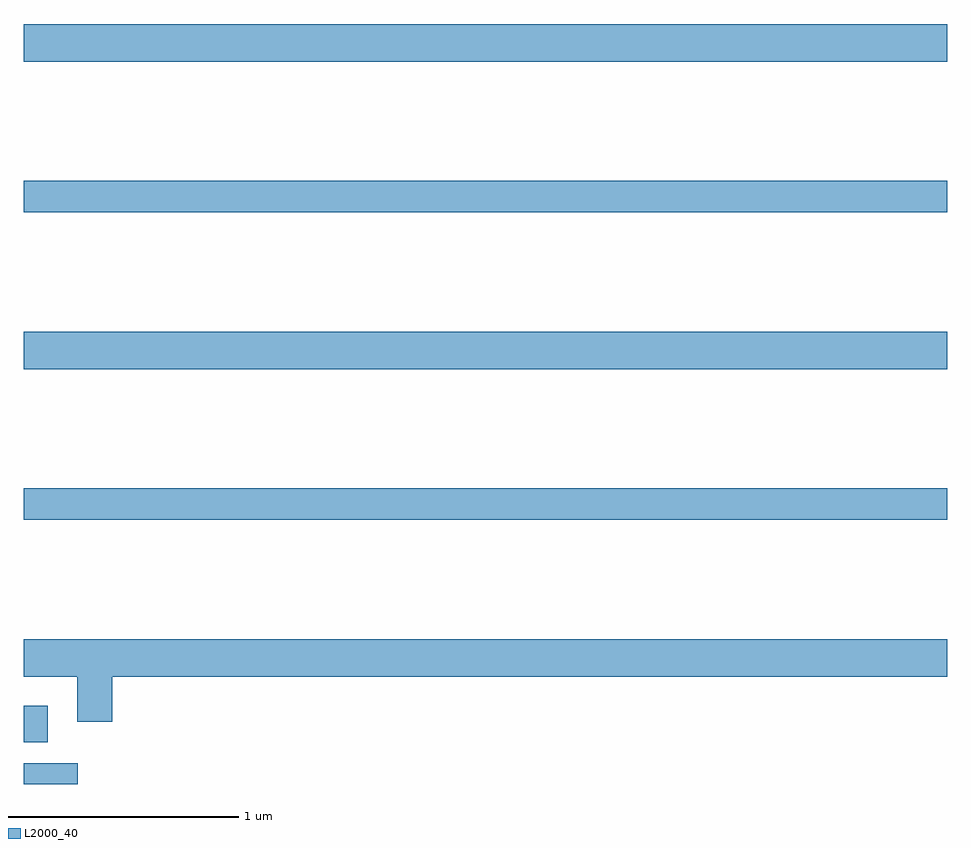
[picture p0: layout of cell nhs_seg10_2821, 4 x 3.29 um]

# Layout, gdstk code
import gdstk
lib = gdstk.Library(unit=1e-6, precision=1e-09)
def R(c, l, rs):  # rectangles x0, y0, x1, y1
    for r in rs: c.add(gdstk.rectangle(r[:2], r[2:], *l))
def P(c, l, *ps):  # polygons
    for p in ps: c.add(gdstk.Polygon(p, *l))
L2000_40 = (2000, 40)

nhs_seg10_2821 = lib.new_cell('nhs_seg10_2821')
R(nhs_seg10_2821, L2000_40, [(263,1318.5,263.233,1318.59), (263,1318.68,263.104,1318.84), (263,1319.644,267,1319.78), (263,1320.296,267,1320.46), (263,1320.976,267,1321.112), (263,1321.628,267,1321.792)])
P(nhs_seg10_2821, L2000_40, [(263.384,1318.964),(267,1318.964),(267,1319.128),(263,1319.128),(263,1318.964),(263.231,1318.964),(263.231,1318.77),(263.384,1318.77)])

lib.write_gds('nhs_seg10_2821.gds')
